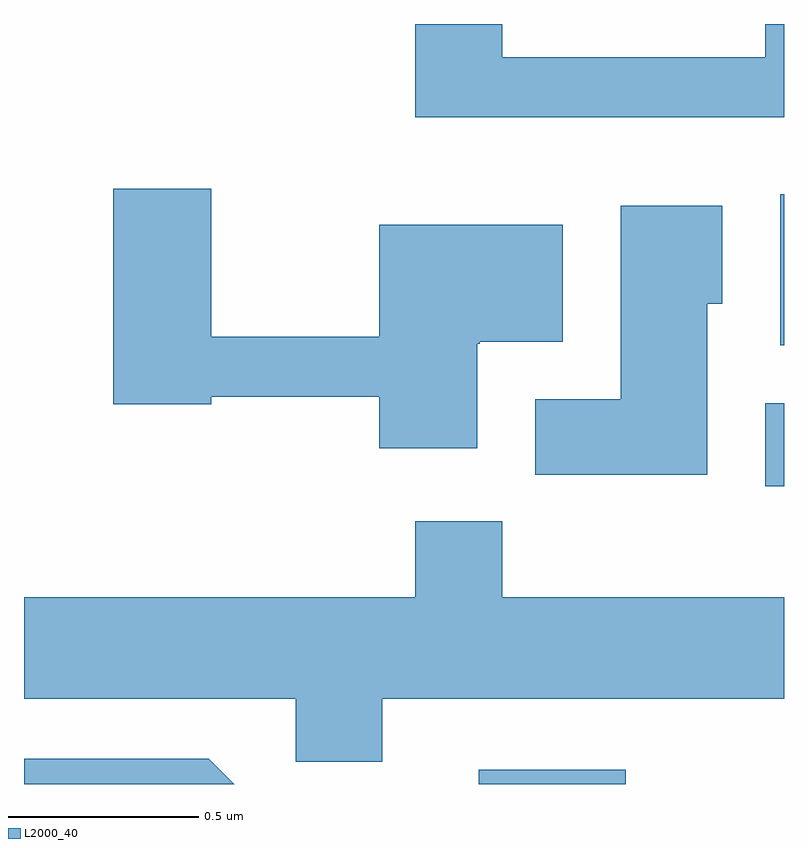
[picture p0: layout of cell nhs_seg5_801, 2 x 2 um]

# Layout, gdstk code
import gdstk
lib = gdstk.Library(unit=1e-6, precision=1e-09)
def R(c, l, rs):  # rectangles x0, y0, x1, y1
    for r in rs: c.add(gdstk.rectangle(r[:2], r[2:], *l))
def P(c, l, *ps):  # polygons
    for p in ps: c.add(gdstk.Polygon(p, *l))
L2000_40 = (2000, 40)

nhs_seg5_801 = lib.new_cell('nhs_seg5_801')
R(nhs_seg5_801, L2000_40, [(191.808,1512.072,192.194,1512.109), (192.561,1512.856,192.611,1513.074), (192.601,1513.226,192.611,1513.624)])
P(nhs_seg5_801, L2000_40, [(192.611,1514.072),(192.561,1514.072),(192.561,1513.984),(191.869,1513.984),(191.869,1514.072),(191.641,1514.072),(191.641,1513.826),(192.611,1513.826)],
  [(191.804,1513.23),(191.81,1513.23),(191.81,1513.236),(192.029,1513.236),(192.029,1513.544),(191.546,1513.544),(191.546,1513.249),(191.104,1513.249),(191.104,1513.639),(190.846,1513.639),(190.846,1513.071),(191.104,1513.071),(191.104,1513.091),(191.546,1513.091),(191.546,1512.956),(191.804,1512.956)],
  [(192.409,1513.336),(192.449,1513.336),(192.449,1513.594),(192.181,1513.594),(192.181,1513.084),(191.956,1513.084),(191.956,1512.886),(192.409,1512.886)],
  [(191.554,1512.296),(192.611,1512.296),(192.611,1512.564),(191.869,1512.564),(191.869,1512.764),(191.641,1512.764),(191.641,1512.564),(190.611,1512.564),(190.611,1512.296),(191.326,1512.296),(191.326,1512.131),(191.554,1512.131)],
  [(191.097,1512.139),(190.611,1512.139),(190.611,1512.072),(191.164,1512.072)])

lib.write_gds('nhs_seg5_801.gds')
